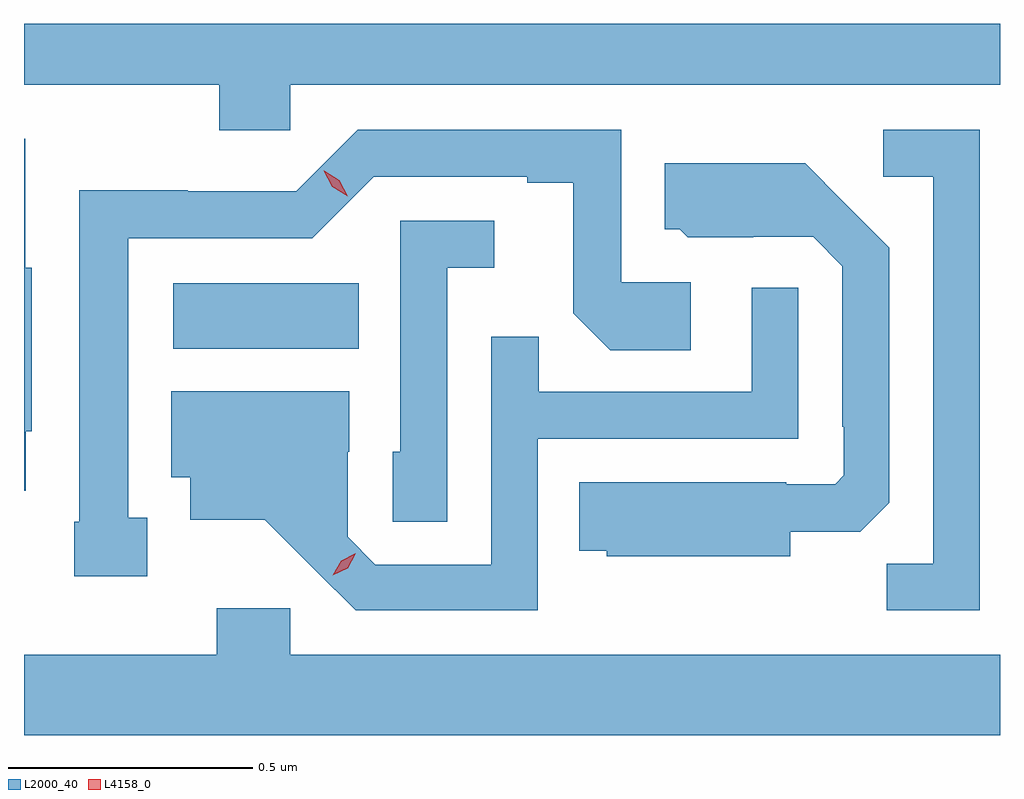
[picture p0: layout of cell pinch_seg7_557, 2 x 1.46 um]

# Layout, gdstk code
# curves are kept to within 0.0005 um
import gdstk
lib = gdstk.Library(unit=1e-6, precision=1e-09)
def R(c, l, rs):  # rectangles x0, y0, x1, y1
    for r in rs: c.add(gdstk.rectangle(r[:2], r[2:], *l))
def P(c, l, *ps):  # polygons
    for p in ps: c.add(gdstk.Polygon(p, *l))
L2000_40 = (2000, 40)
L4158_0 = (4158, 0)

pinch_seg7_557 = lib.new_cell('pinch_seg7_557')
R(pinch_seg7_557, L2000_40, [(172.008,1077.332,172.388,1077.466)])
P(pinch_seg7_557, L2000_40, [(172.248,1077.872),(173.702,1077.872),(173.702,1077.997),(171.702,1077.997),(171.702,1077.872),(172.102,1077.872),(172.102,1077.779),(172.248,1077.779)],
  [(171.955,1076.985),(171.916,1076.985),(171.916,1077.558),(172.293,1077.558),(172.419,1077.684),(172.733,1077.684),(172.733,1077.672),(172.827,1077.672),(172.827,1077.404),(172.903,1077.328),(173.068,1077.328),(173.068,1077.468),(172.926,1077.468),(172.926,1077.78),(172.386,1077.78),(172.26,1077.654),(172.038,1077.654),(172.038,1077.656),(171.815,1077.656),(171.815,1076.977),(171.805,1076.977),(171.805,1076.865),(171.955,1076.865)],
  [(173.661,1077.78),(173.463,1077.78),(173.463,1077.684),(173.565,1077.684),(173.565,1076.891),(173.47,1076.891),(173.47,1076.796),(173.661,1076.796)],
  [(171.706,1077.162),(171.718,1077.162),(171.718,1077.498),(171.705,1077.498),(171.705,1077.762),(171.702,1077.762),(171.702,1077.041),(171.706,1077.041)],
  [(173.272,1076.957),(173.416,1076.957),(173.475,1077.016),(173.475,1077.538),(173.303,1077.712),(173.015,1077.712),(173.015,1077.576),(173.046,1077.576),(173.062,1077.56),(173.196,1077.56),(173.196,1077.561),(173.319,1077.561),(173.379,1077.501),(173.379,1077.172),(173.382,1077.172),(173.382,1077.072),(173.364,1077.054),(173.264,1077.054),(173.264,1077.058),(172.84,1077.058),(172.84,1076.918),(172.896,1076.918),(172.896,1076.906),(173.272,1076.906)],
  [(172.569,1077.497),(172.666,1077.497),(172.666,1077.594),(172.473,1077.594),(172.473,1077.12),(172.458,1077.12),(172.458,1076.977),(172.569,1076.977)],
  [(172.755,1077.147),(173.289,1077.147),(173.289,1077.457),(173.193,1077.457),(173.193,1077.243),(172.757,1077.243),(172.757,1077.356),(172.659,1077.356),(172.659,1076.889),(172.422,1076.889),(172.365,1076.946),(172.365,1077.12),(172.369,1077.12),(172.369,1077.244),(172.004,1077.244),(172.004,1077.068),(172.043,1077.068),(172.043,1076.981),(172.195,1076.981),(172.382,1076.796),(172.755,1076.796)],
  [(173.702,1076.704),(172.248,1076.704),(172.248,1076.8),(172.097,1076.8),(172.097,1076.704),(171.702,1076.704),(171.702,1076.54),(173.702,1076.54)])
P(pinch_seg7_557, L4158_0, [(172.335,1076.867),(172.335,1076.867),(172.352,1076.897),(172.382,1076.912),(172.382,1076.912),(172.382,1076.912),(172.365,1076.882),(172.335,1076.867)],
  [(172.365,1077.644),(172.334,1077.663),(172.316,1077.696),(172.316,1077.696),(172.317,1077.696),(172.348,1077.677),(172.365,1077.644),(172.365,1077.644)])

lib.write_gds('pinch_seg7_557.gds')
